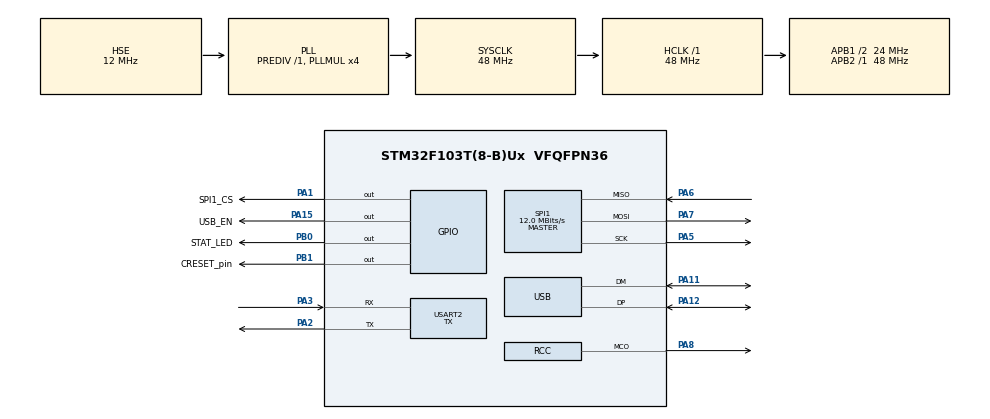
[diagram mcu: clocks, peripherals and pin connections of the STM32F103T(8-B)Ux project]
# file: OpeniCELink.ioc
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Mcu.Family=STM32F1
Mcu.Name=STM32F103T(8-B)Ux
Mcu.Package=VFQFPN36
NVIC.PriorityGroup=NVIC_PRIORITYGROUP_4
NVIC.USB_LP_CAN1_RX0_IRQn=true\:0\:0\:false\:false\:true\:false\:true\:true
PA1.GPIO_Label=SPI1_CS
PA1.GPIO_ModeDefaultOutputPP=GPIO_MODE_OUTPUT_OD
PA1.GPIO_PuPd=GPIO_PULLUP
PA1.PinState=GPIO_PIN_SET
PA1.Signal=GPIO_Output
PA11.Mode=Device
PA11.Signal=USB_DM
PA12.Mode=Device
PA12.Signal=USB_DP
PA13.Mode=Serial_Wire
PA13.Signal=SYS_JTMS-SWDIO
PA14.Mode=Serial_Wire
PA14.Signal=SYS_JTCK-SWCLK
PA15.GPIO_Label=USB_EN
PA15.PinState=GPIO_PIN_SET
PA15.Signal=GPIO_Output
PA2.Mode=Asynchronous
PA2.Signal=USART2_TX
PA3.Mode=Asynchronous
PA3.Signal=USART2_RX
PA5.Mode=Full_Duplex_Master
PA5.Signal=SPI1_SCK
PA6.Mode=Full_Duplex_Master
PA6.Signal=SPI1_MISO
PA7.Mode=Full_Duplex_Master
PA7.Signal=SPI1_MOSI
PA8.GPIO_Speed=GPIO_SPEED_FREQ_HIGH
PA8.Mode=Clock-out
PA8.Signal=RCC_MCO
PB0.GPIO_Label=STAT_LED
PB0.Signal=GPIO_Output
PB1.GPIO_Label=CRESET_pin
PB1.Signal=GPIO_Output
PD0-OSC_IN.Mode=HSE-External-Oscillator
PD0-OSC_IN.Signal=RCC_OSC_IN
PD1-OSC_OUT.Mode=HSE-External-Oscillator
PD1-OSC_OUT.Signal=RCC_OSC_OUT
ProjectManager.HeapSize=0x1000
ProjectManager.StackSize=0x400
ProjectManager.TargetToolchain=STM32CubeIDE
RCC.AHBFreq_Value=48000000
RCC.APB1CLKDivider=RCC_HCLK_DIV2
RCC.APB1Freq_Value=24000000
RCC.APB1TimFreq_Value=48000000
RCC.APB2Freq_Value=48000000
RCC.APB2TimFreq_Value=48000000
RCC.HCLKFreq_Value=48000000
RCC.HSE_VALUE=12000000
RCC.PLLMUL=RCC_PLL_MUL4
RCC.SYSCLKFreq_VALUE=48000000
RCC.SYSCLKSource=RCC_SYSCLKSOURCE_PLLCLK
RCC.USBFreq_Value=48000000
SPI1.BaudRatePrescaler=SPI_BAUDRATEPRESCALER_4
SPI1.CalculateBaudRate=12.0 MBits/s
SPI1.Direction=SPI_DIRECTION_2LINES
SPI1.Mode=SPI_MODE_MASTER
SPI1.VirtualType=VM_MASTER
USART2.Mode=MODE_TX
USART2.VirtualMode=VM_ASYNC
USB_DEVICE.CLASS_NAME_FS=MSC
USB_DEVICE.MANUFACTURER_STRING=TinLethax
USB_DEVICE.PID_MSC_FS=6969
USB_DEVICE.PRODUCT_STRING_MSC_FS=OpeniCELink
USB_DEVICE.VirtualMode=Msc
USB_DEVICE.VirtualModeFS=Msc_FS
VP_USB_DEVICE_VS_USB_DEVICE_MSC_FS.Mode=MSC_FS
board=custom

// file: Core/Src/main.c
/* USER CODE BEGIN Header */
/**
  ******************************************************************************
  * @file           : main.c
  * @brief          : Main program body
  ******************************************************************************
  * @attention
  *
  * Copyright (c) 2021 STMicroelectronics.
  * All rights reserved.
  *
  * This software is licensed under terms that can be found in the LICENSE file
  * in the root directory of this software component.
  * If no LICENSE file comes with this software, it is provided AS-IS.
  *
  ******************************************************************************
  */
/* USER CODE END Header */
#include "main.h"
#include "usb_device.h"

/* USER CODE BEGIN Includes */
#include <W25QXX.h>
#include <stdint.h>
#include <stdio.h>
/* USER CODE END Includes */

/* USER CODE BEGIN PTD */
W25QXX w25q;

/* USER CODE END PTD */

/* USER CODE BEGIN PD */
static FLASH_EraseInitTypeDef EraseInitStruct;
uint32_t PAGEError = 0;

/* USER CODE END PD */

/* USER CODE BEGIN PM */
#ifdef __GNUC__
  /* With GCC/RAISONANCE, small printf (option LD Linker->Libraries->Small printf
     set to 'Yes') calls __io_putchar() */
  #define PUTCHAR_PROTOTYPE int __io_putchar(int ch)
#else
  #define PUTCHAR_PROTOTYPE int fputc(int ch, FILE *f)
#endif /* __GNUC__ */
/* USER CODE END PM */

 SPI_HandleTypeDef hspi1;

UART_HandleTypeDef huart2;

void SystemClock_Config(void);
static void MX_GPIO_Init(void);
static void MX_USART2_UART_Init(void);
static void MX_SPI1_Init(void);
/* USER CODE BEGIN PFP */

PUTCHAR_PROTOTYPE
{
  /* Place your implementation of fputc here */
  /* e.g. write a character to the EVAL_COM1 and Loop until the end of transmission */
  HAL_UART_Transmit(&huart2, (uint8_t *)&ch, 1, 0xFFFF);

  return ch;
}
/* USER CODE END PFP */

/* USER CODE BEGIN 0 */

/* Open source firmware for iCELink on iCESugar nano FPGA dev board
 * Coded by TinLethax
 * https://github.com/TiNredmc/OpeniCELink
 */

// Drive mkfs
void ice_mkfs(){
	const uint8_t ms_fat12[62] = {
			0xEB, 0x3C, 0x90, // Jump instruction to bootstrap (x86 instruction)
			0x4D, 0x53, 0x44, 0x4F, 0x53, 0x35, 0x2E, 0x30,// OEM name as "MSDOS5.0"
			0x00, 0x04,// sector size -> 0x400 = 1024 bytes
			0x01,// 1 Cluster = 1 sector = 1024 bytes.
			0x02, 0x00,// 2 sector reserved (FAT12)
			0x02,// number of FATs == 2
			0x00, 0x02,// 32-byte directory entries in the root directory == 512 bytes
			0x40, 0x00, // total sector of 64 sectors
			0xF8, // Non-removable disk
			0x01, 0x00,// FAT occupied 1 sector (FAT12)
			0x01, 0x00,// 1 sector per track
			0x01, 0x00,// 1 (reading?) head (irrelevant)
			0x00, 0x00, 0x00, 0x00,// No hidden physical sectors.
			0x00, 0x00, 0x00, 0x00,// Total number of sectors (For FAT32). Remains 0 since we use FAT12.
			0x80,// Drive number (0x80 == fixed disk).
			0x00,// Reserved (For WinNT).
			0x29,// Extended boot signature
			0xD5, 0x80, 0x9A, 0x1C,// Volume serial number
			'I','C', 'E', 'L', 'I', 'N', 'K', 'O', 'S', 'S', ' ',// Volume label "ICELINKOSS ".
			0x46, 0x41, 0x54, 0x31, 0x32, 0x20, 0x20, 0x20// "FAT12   "
			};

		// Format the drive

		HAL_FLASH_Unlock();
		// Page erase
		EraseInitStruct.TypeErase = FLASH_TYPEERASE_PAGES; // erase 1024 KBytes (which is the size of 1 page).
		EraseInitStruct.PageAddress = FLASH_MEM_BASE_ADDR; // We start erase from the beginning of sector.
		EraseInitStruct.NbPages = 64; // this tells eraser for how many page we want to erase.

		HAL_FLASHEx_Erase(&EraseInitStruct, &PAGEError);

		for(uint8_t i=0; i < 62; i+= 2){// Write Boot sector (BIOS Parameter Block) to the internal Flash.
			HAL_FLASH_Program(FLASH_TYPEPROGRAM_HALFWORD,
					FLASH_MEM_BASE_ADDR + i, (ms_fat12[i] | ms_fat12[i+1] << 8)); // flash modified data onto Flash memory.
		}

		HAL_FLASH_Program(FLASH_TYPEPROGRAM_HALFWORD, FLASH_MEM_BASE_ADDR + 510, 0xAA55);// Write the signature of FAT file system at the end of sector 0.

		for(uint32_t n = FLASH_MEM_BASE_ADDR + 512; n < (FLASH_MEM_BASE_ADDR + 0x1000); n += 4)
									HAL_FLASH_Program(FLASH_TYPEPROGRAM_WORD, n, 0x00000000);

		// Set Label name at the beginning of sector 3.
		const uint8_t ice_label[16] = {'i', 'C', 'E', 'L', 'i', 'n', 'k', 'O', 'S', 'S', ' ', 0x08, 0x00, 0x00};
		for(uint8_t i =0; i < 16; i+= 2)
			HAL_FLASH_Program(FLASH_TYPEPROGRAM_HALFWORD, FLASH_MEM_BASE_ADDR + 0x1000 +i, (ice_label[i] | ice_label[i+1] << 8));

		for(uint32_t n = FLASH_MEM_BASE_ADDR + 0x1010; n < 0x08020000; n += 4)
							HAL_FLASH_Program(FLASH_TYPEPROGRAM_WORD, n, 0x00000000);

}

/* USER CODE END 0 */

int main(void)
{
  /* USER CODE BEGIN 1 */
//	char fspath[4];
//	FATFS fatfs;// FatFS handle
//	FIL fil;// File Handle
//	FILINFO fno;// file info
//	FRESULT res;// result after operations
//	DIR dir;// directory.
//	UINT fileRW = 0;// check if file is written or read (shared variable to save ram).
//	uint8_t config_text[] =
//			"#This is configuration file for OpeniCELink\n\
//			 #Open-sourced by TinLethax\n";
	uint32_t bitstream_size = 0;
  /* USER CODE END 1 */

  /* MCU Configuration--------------------------------------------------------*/

  /* Reset of all peripherals, Initializes the Flash interface and the Systick. */
  HAL_Init();

  /* Configure the system clock */
  SystemClock_Config();

  /* Initialize all configured peripherals */
  MX_GPIO_Init();
  MX_USART2_UART_Init();
  MX_SPI1_Init();
  MX_USB_DEVICE_Init();
  /* USER CODE BEGIN 2 */

  // Important source files worth taking a look at :
  // USB_DEVICE/Target/usbd_conf.c
  // USB_DEVICE/App/usbd_storage_if.c
  // FATFS/Target/user_diskio.c

  HAL_GPIO_WritePin(STAT_LED_GPIO_Port, STAT_LED_Pin, GPIO_PIN_SET);

  printf("%c",0x0c);// clear UART terminal screen

  // Flash init
  if(w25_init(&w25q, &hspi1, SPI1_CS_GPIO_Port, SPI1_CS_Pin)){
	  printf("ERROR:SPI flash init failed.\n");
  }else{
	  printf("INFO:SPI flash detected\n");
	  printf("INFO:Flash Size : %ld\n", w25q.flash_capa);
  }

//  uint8_t readbuf[20];
//
//  printf("Readback : ");
//  w25_read(&w25q, 0, readbuf, 20);
//  for(uint8_t n = 0; n < 20; n++){
//	  printf("0x%2x\n", readbuf[n]);
//  }

  // De-initialize the SPI, we will use it later when we want to flash
  HAL_SPI_DeInit(&hspi1);

  HAL_GPIO_WritePin(CRESET_pin_GPIO_Port, CRESET_pin_Pin, GPIO_PIN_SET);// Release reset pin, lets FPGA run.

  // Format internal Flash to FAT12 fs.
  ice_mkfs();
  printf("INFO:FAT12 deployed!\n");
  HAL_Delay(50);

  // Let USB enumerate.
  /* On iCESugar nano board has USB bus gating controlled by PA15
   * Set PA15 to Logic HIGH */
  HAL_GPIO_WritePin(USB_EN_GPIO_Port, USB_EN_Pin, GPIO_PIN_SET);
  printf("INFO:Starting...\n");

  /* USER CODE END 2 */

  /* Infinite loop */
  while (1)
  {

    /* USER CODE BEGIN 3 */
	printf("INFO:Breathing...\n");

	uint8_t *flash_scan = (uint8_t *)(FLASH_MEM_BASE_ADDR);
	//Locate the Bitstream byte on internal flash by using "pattern match" algorithm.
	while(1){
	  if(flash_scan == (uint8_t *)FLASH_MEM_END_ADDR)// Out of memory bound proof.
				flash_scan = (uint8_t *)(FLASH_MEM_BASE_ADDR);

	  if(*(flash_scan++) == 0x7E){//MSB byte of preamble should be at 0x8015805.
		  if(*(flash_scan++) == 0xAA){
			  if(*(flash_scan++) == 0x99){
				  if(*flash_scan == 0x7E){
					  // found!

					  HAL_Delay(1000);// slow down a bit. Let's the Bitstream copied.
					  break;
				  }
			  }
		  }
	  }
	}
	flash_scan -= 3;// After detected the preamble, move address back 3 byte to the beginning of the Bitstream.

	printf("INFO:Bitstream found at : %p\n", flash_scan);
	// some temporary buffer to hold bit stream address on flash.
	uint8_t *fdata;
	fdata = (uint8_t *)(flash_scan);

	while(1){// detect wake up command (end of Bitstream).
	if(*(flash_scan++) == 0x01){
		if(*(flash_scan++) == 0x06){
			if(*flash_scan == 0x00){
				break;
			}
		}
	}
	}

	// Calculate Bitstream size.
	bitstream_size = ((uint8_t *)flash_scan - fdata) + 1;
	printf("INFO:Bitstream size : %ld\n", bitstream_size);

	// Re_init spi after last flashing
	MX_SPI1_Init();
	HAL_Delay(100);

	// Turn LED of to indicates that we're flashing the Bitstream.
	HAL_GPIO_WritePin(STAT_LED_GPIO_Port, STAT_LED_Pin, GPIO_PIN_RESET);

	//Put FPGA in reset after we receive the Bitstream from host
	HAL_GPIO_WritePin(CRESET_pin_GPIO_Port, CRESET_pin_Pin, GPIO_PIN_RESET);

	w25_erase32K(&w25q, 0);// erase 32KByte starting at address 0

	w25_write(&w25q, (uint8_t *)fdata, bitstream_size);// Flash bit stream to SPI NOR flash.

	w25_writeMode(&w25q, 0);// NOR flash write disable.

	w25_softreset(&w25q);

	// De-init the SPI.
	HAL_SPI_DeInit(&hspi1);

	// release reset to lets FPGA run.
	HAL_Delay(100);
	HAL_GPIO_WritePin(CRESET_pin_GPIO_Port, CRESET_pin_Pin, GPIO_PIN_SET);

	HAL_GPIO_WritePin(STAT_LED_GPIO_Port, STAT_LED_Pin, GPIO_PIN_SET);// Turn LED Back on after Bitstream was flashed.
	printf("DONE:Bit stream is flashed into SPI NOR\n");

	// Reformat the drive space.
	ice_mkfs();
	printf("INFO:Reformatted\n");
	// Disconnect and reconnect USB.
	HAL_GPIO_WritePin(USB_EN_GPIO_Port, USB_EN_Pin, GPIO_PIN_RESET);
	HAL_Delay(100);
	HAL_GPIO_WritePin(USB_EN_GPIO_Port, USB_EN_Pin, GPIO_PIN_SET);

  }// while
  /* USER CODE END 3 */
}

void SystemClock_Config(void)
{
  RCC_OscInitTypeDef RCC_OscInitStruct = {0};
  RCC_ClkInitTypeDef RCC_ClkInitStruct = {0};
  RCC_PeriphCLKInitTypeDef PeriphClkInit = {0};

  /** Initializes the RCC Oscillators according to the specified parameters
  * in the RCC_OscInitTypeDef structure.
  */
  RCC_OscInitStruct.OscillatorType = RCC_OSCILLATORTYPE_HSE;
  RCC_OscInitStruct.HSEState = RCC_HSE_ON;
  RCC_OscInitStruct.HSEPredivValue = RCC_HSE_PREDIV_DIV1;
  RCC_OscInitStruct.HSIState = RCC_HSI_ON;
  RCC_OscInitStruct.PLL.PLLState = RCC_PLL_ON;
  RCC_OscInitStruct.PLL.PLLSource = RCC_PLLSOURCE_HSE;
  RCC_OscInitStruct.PLL.PLLMUL = RCC_PLL_MUL4;
  if (HAL_RCC_OscConfig(&RCC_OscInitStruct) != HAL_OK)
  {
    Error_Handler();
  }

  /** Initializes the CPU, AHB and APB buses clocks
  */
  RCC_ClkInitStruct.ClockType = RCC_CLOCKTYPE_HCLK|RCC_CLOCKTYPE_SYSCLK
                              |RCC_CLOCKTYPE_PCLK1|RCC_CLOCKTYPE_PCLK2;
  RCC_ClkInitStruct.SYSCLKSource = RCC_SYSCLKSOURCE_PLLCLK;
  RCC_ClkInitStruct.AHBCLKDivider = RCC_SYSCLK_DIV1;
  RCC_ClkInitStruct.APB1CLKDivider = RCC_HCLK_DIV2;
  RCC_ClkInitStruct.APB2CLKDivider = RCC_HCLK_DIV1;

  if (HAL_RCC_ClockConfig(&RCC_ClkInitStruct, FLASH_LATENCY_1) != HAL_OK)
  {
    Error_Handler();
  }
  PeriphClkInit.PeriphClockSelection = RCC_PERIPHCLK_USB;
  PeriphClkInit.UsbClockSelection = RCC_USBCLKSOURCE_PLL;
  if (HAL_RCCEx_PeriphCLKConfig(&PeriphClkInit) != HAL_OK)
  {
    Error_Handler();
  }
  HAL_RCC_MCOConfig(RCC_MCO, RCC_MCO1SOURCE_SYSCLK, RCC_MCODIV_1);
}

static void MX_SPI1_Init(void)
{

  /* SPI1 parameter configuration*/
  hspi1.Instance = SPI1;
  hspi1.Init.Mode = SPI_MODE_MASTER;
  hspi1.Init.Direction = SPI_DIRECTION_2LINES;
  hspi1.Init.DataSize = SPI_DATASIZE_8BIT;
  hspi1.Init.CLKPolarity = SPI_POLARITY_LOW;
  hspi1.Init.CLKPhase = SPI_PHASE_1EDGE;
  hspi1.Init.NSS = SPI_NSS_SOFT;
  hspi1.Init.BaudRatePrescaler = SPI_BAUDRATEPRESCALER_4;
  hspi1.Init.FirstBit = SPI_FIRSTBIT_MSB;
  hspi1.Init.TIMode = SPI_TIMODE_DISABLE;
  hspi1.Init.CRCCalculation = SPI_CRCCALCULATION_DISABLE;
  hspi1.Init.CRCPolynomial = 10;
  if (HAL_SPI_Init(&hspi1) != HAL_OK)
  {
    Error_Handler();
  }

}

static void MX_USART2_UART_Init(void)
{

  huart2.Instance = USART2;
  huart2.Init.BaudRate = 115200;
  huart2.Init.WordLength = UART_WORDLENGTH_8B;
  huart2.Init.StopBits = UART_STOPBITS_1;
  huart2.Init.Parity = UART_PARITY_NONE;
  huart2.Init.Mode = UART_MODE_TX;
  huart2.Init.HwFlowCtl = UART_HWCONTROL_NONE;
  huart2.Init.OverSampling = UART_OVERSAMPLING_16;
  if (HAL_UART_Init(&huart2) != HAL_OK)
  {
    Error_Handler();
  }

}

static void MX_GPIO_Init(void)
{
  GPIO_InitTypeDef GPIO_InitStruct = {0};

  /* GPIO Ports Clock Enable */
  __HAL_RCC_GPIOD_CLK_ENABLE();
  __HAL_RCC_GPIOA_CLK_ENABLE();
  __HAL_RCC_GPIOB_CLK_ENABLE();

  /*Configure GPIO pin Output Level */
  HAL_GPIO_WritePin(GPIOA, SPI1_CS_Pin|USB_EN_Pin, GPIO_PIN_SET);

  /*Configure GPIO pin Output Level */
  HAL_GPIO_WritePin(GPIOB, STAT_LED_Pin|CRESET_pin_Pin, GPIO_PIN_RESET);

  /*Configure GPIO pin : SPI1_CS_Pin */
  GPIO_InitStruct.Pin = SPI1_CS_Pin;
  GPIO_InitStruct.Mode = GPIO_MODE_OUTPUT_OD;
  GPIO_InitStruct.Pull = GPIO_PULLUP;
  GPIO_InitStruct.Speed = GPIO_SPEED_FREQ_LOW;
  HAL_GPIO_Init(SPI1_CS_GPIO_Port, &GPIO_InitStruct);

  /*Configure GPIO pins : STAT_LED_Pin CRESET_pin_Pin */
  GPIO_InitStruct.Pin = STAT_LED_Pin|CRESET_pin_Pin;
  GPIO_InitStruct.Mode = GPIO_MODE_OUTPUT_PP;
  GPIO_InitStruct.Pull = GPIO_NOPULL;
  GPIO_InitStruct.Speed = GPIO_SPEED_FREQ_LOW;
  HAL_GPIO_Init(GPIOB, &GPIO_InitStruct);

  /*Configure GPIO pin : PA8 */
  GPIO_InitStruct.Pin = GPIO_PIN_8;
  GPIO_InitStruct.Mode = GPIO_MODE_AF_PP;
  GPIO_InitStruct.Speed = GPIO_SPEED_FREQ_HIGH;
  HAL_GPIO_Init(GPIOA, &GPIO_InitStruct);

  /*Configure GPIO pin : USB_EN_Pin */
  GPIO_InitStruct.Pin = USB_EN_Pin;
  GPIO_InitStruct.Mode = GPIO_MODE_OUTPUT_PP;
  GPIO_InitStruct.Pull = GPIO_NOPULL;
  GPIO_InitStruct.Speed = GPIO_SPEED_FREQ_LOW;
  HAL_GPIO_Init(USB_EN_GPIO_Port, &GPIO_InitStruct);

}

void Error_Handler(void)
{
  __disable_irq();
  while (1)
  {
  }
}
